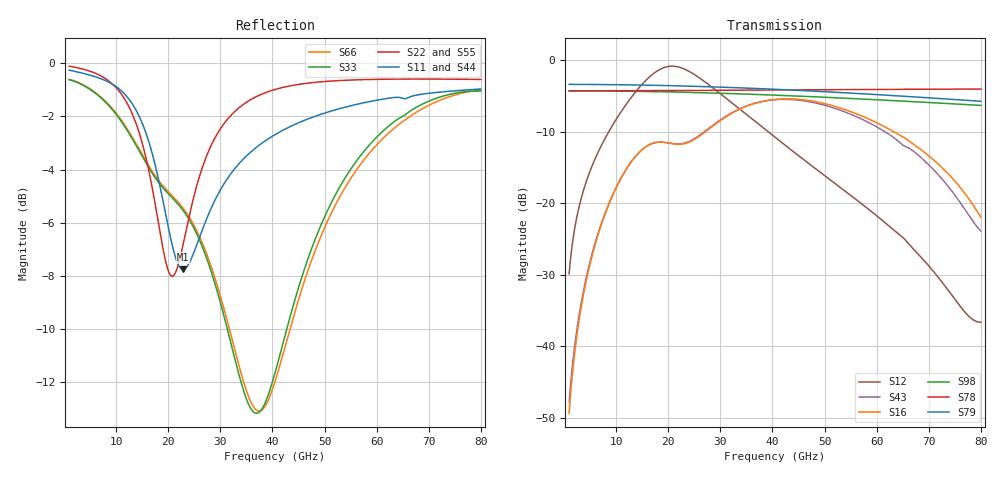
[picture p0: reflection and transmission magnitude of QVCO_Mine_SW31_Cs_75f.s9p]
! Touchstone Ver. 1.0
! Number of ports is 9
# Hz	S	RI	R	50.000000
! SCATTERING PARAMETERS  :
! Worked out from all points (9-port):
!   1001 points, 1 GHz to 80 GHz, reference 50 ohm
!   strongest paths, dB at 1 GHz, 20.75 GHz, 40.5 GHz, 60.25 GHz, 80 GHz:
!     S79: -3.4, -3.6, -4.1, -4.8, -5.8
!     S78: -4.3, -4.2, -4.2, -4.1, -4.0
!     S98: -4.3, -4.4, -4.9, -5.5, -6.3
!     S16: -49.4, -11.7, -5.5, -8.8, -22.0
!     S43: -47.8, -11.7, -5.5, -9.4, -23.9
!     S12: -29.9, -0.8, -10.8, -21.9, -36.7
!   lowest |S11| = -7.8 dB at 22.88 GHz (marker M1), VSWR 2.39, Z = 40.2 + j39 ohm
!   |S11| at or under -10 dB: nowhere
